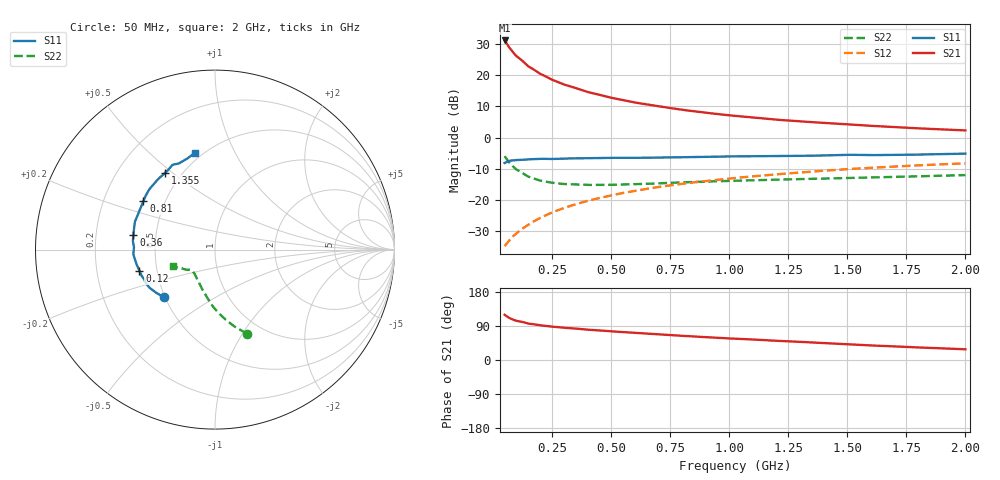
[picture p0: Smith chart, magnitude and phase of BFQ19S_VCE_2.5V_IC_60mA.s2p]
! Infineon Technologies  Discrete & RF Semiconductors
! BFQ19S
! VCE =  2.5 V,  IC =  60 mA
! Common Emitter S-Parameters:  Jan 2016
# GHz  S  MA  R  50
!  f  S11  S21  S12  S22
! GHz  MAG  ANG  MAG  ANG  MAG  ANG  MAG  ANG
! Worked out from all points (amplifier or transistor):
!   391 points, 50 MHz to 2 GHz, reference 50 ohm
!   highest |S21| = 31.2 dB at 50 MHz (marker M1)
!   |S21| within 3 dB of that: start of sweep to 77.2 MHz
!   unconditionally stable (mu >= 1): 229.1 MHz to 1.874 GHz
!   at 375 MHz: K = 1.03, MAG = 17.1 dB, |S12| = -20.9 dB
!   at 1.025 GHz: K = 1.04, MAG = 8.8 dB, |S12| = -13.0 dB
!   at 2 GHz: K = 0.99, MSG = 5.3 dB, |S12| = -8.3 dB
!   S11 on the Smith chart (normalised r, x): 50 MHz: 0.49, -0.31; 120 MHz: 0.40, -0.12; 360 MHz: 0.37, +0.07; 810 MHz: 0.38, +0.27; 1.355 GHz: 0.41, +0.47; 2 GHz: 0.46, +0.71
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0.05  0.3893 -137.3  36.34 119.3  0.0179 64.9  0.5006 -69.3
0.06  0.4065 -143.7  31.68 114.6  0.0199 65.6  0.442 -75.8
0.07  0.4214 -149.4  27.9 110.9  0.0223 66.7  0.3959 -81.2
0.08  0.4279 -153.8  24.9 107.8  0.0245 67.0  0.3597 -85.9
0.09  0.4285 -157.7  22.43 105.4  0.0267 67.7  0.3302 -90.1
0.1  0.4343 -160.4  20.34 103.3  0.0288 69.0  0.3059 -93.8
0.12  0.4373 -164.3  17.75 101.1  0.0332 70.1  0.2758 -98.3
0.15  0.4455 -170.0  13.94 96.2  0.0397 71.4  0.235 -107.2
0.2  0.4557 -176.8  10.59 91.5  0.0507 72.9  0.2031 -116.5
0.25  0.4516 178.3  8.512 88.0  0.0621 73.2  0.1876 -123.4
0.3  0.46 174.3  7.13 85.1  0.0732 73.1  0.1788 -128.1
0.36  0.4618 170.1  6.084 82.4  0.0866 72.6  0.1749 -131.9
0.375  0.4626 169.1  5.825 81.6  0.0899 72.5  0.1741 -132.9
0.4  0.4643 167.4  5.396 80.1  0.0955 72.4  0.1728 -134.6
0.5  0.4726 160.9  4.364 75.7  0.1172 70.9  0.1734 -138.0
0.7  0.475 151.5  3.171 67.6  0.1598 67.4  0.1828 -142.1
0.81  0.4822 145.9  2.762 63.5  0.1819 65.3  0.1905 -143.7
1.03  0.4971 136.5  2.221 56.1  0.2243 61.1  0.202 -147.1
1.35  0.5101 123.0  1.768 46.3  0.283 55.1  0.2165 -151.9
1.355  0.5103 122.8  1.762 46.2  0.2839 55.0  0.2167 -152.0
1.675  0.5239 110.3  1.489 36.5  0.3372 48.8  0.2314 -154.7
2  0.551 101.8  1.3 28.2  0.3843 42.7  0.2487 -158.9
